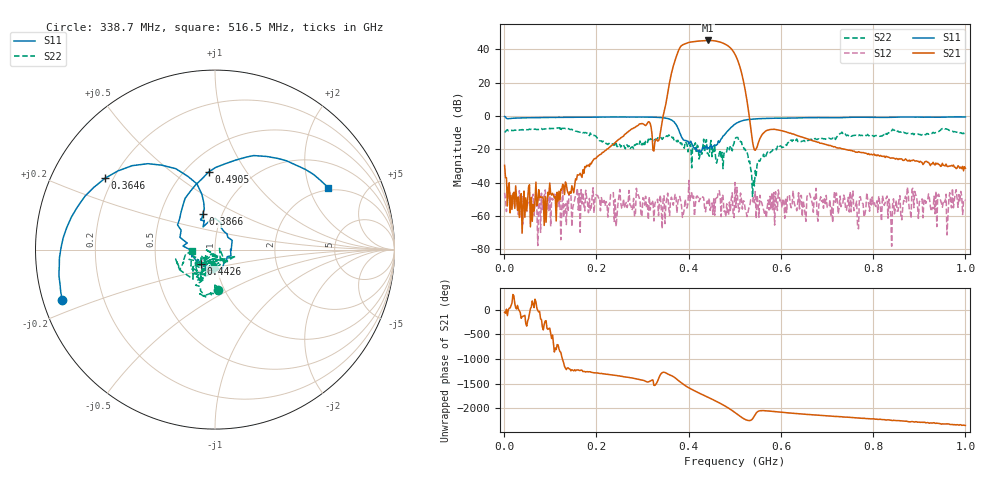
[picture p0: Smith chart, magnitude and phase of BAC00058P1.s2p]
!measured: 2026-10-27T15:10:35
!cal_instance: BBtestOct27
!cal_created: 2026-10-27T14:45
!cal_file: BBtesting.cal
!port1_delay_ps: -58.63
!port2_delay_ps: -59.31
!host: dhcp-10-250-247-203.harvard.edu
! Created with skrf 2.1.0 (http://scikit-rf.org).
# Hz S RI R 50.0
!freq ReS11 ImS11 ReS21 ImS21 ReS12 ImS12 ReS22 ImS22
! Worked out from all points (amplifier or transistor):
!   501 points, 1 MHz to 1 GHz, reference 50 ohm
!   highest |S21| = 45.2 dB at 442.6 MHz (marker M1)
!   |S21| within 3 dB of that: 384.9 MHz to 484.2 MHz (99.31 MHz wide, 22.9 % of centre)
!   unconditionally stable (mu >= 1): start of sweep to 399.8 MHz; 401.7 MHz to 464 MHz; 500.8 MHz to end of sweep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
!   at 166.8 MHz: K = 714.79, MAG = -27.3 dB, |S12| = -44.2 dB
!   at 500.5 MHz: K = 0.73, MSG = 38.4 dB, |S12| = -39.9 dB
!   at 1 GHz: K = 762.79, MAG = -22.2 dB, |S12| = -50.7 dB
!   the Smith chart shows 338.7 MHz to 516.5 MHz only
!   S11 on the Smith chart (normalised r, x): 338.7 MHz: 0.06, -0.16; 364.6 MHz: 0.17, +0.29; 386.6 MHz: 0.81, +0.34; 442.6 MHz: 0.85, -0.14; 490.5 MHz: 0.64, +0.69; 516.5 MHz: 1.90, +2.71
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1000000  -0.3551 0.8983  0.0226 -0.024  -0.00496 -0.000236  0.3162 -0.0676
1.68832e8  0.4861 -0.7737  -0.0124 -0.00735  -0.00176 -0.00144  -0.0191 -0.332
3.34666e8  -0.8277 -0.3597  0.1479 0.1025  -0.000686 0.00077  0.0453 -0.2221
3.38662e8  -0.8507 -0.2809  -0.1507 0.2778  0.000318 0.00427  0.0186 -0.227
3.64636e8  -0.6126 0.3977  -0.9587 24.37  -0.00229 0.00185  -0.0815 -0.2053
3.74626e8  -0.2184 0.4509  61.86 29.3  0.00115 -0.000464  -0.0955 -0.138
3.8062e8  -0.0731 0.3082  101.6 -38.38  0.000261 0.00386  -0.134 -0.0975
3.86614e8  -0.0673 0.199  61.61 -119.1  0.000905 -7.05e-05  -0.1156 -0.0602
3.96604e8  -0.0661 0.1615  -91.4 -123.1  -0.00173 -1.54e-05  -0.1087 -0.087
4.08592e8  0.0344 0.1214  -164.1 24.84  -0.00311 -0.000172  0.000273 -0.1237
4.18582e8  0.09 -0.00489  -95.28 143.7  0.000145 -0.004  0.0386 -0.1267
4.26574e8  0.0634 -0.0641  5.63 177.4  0.000281 0.00326  -0.0173 -0.0839
4.42558e8  -0.0772 -0.0802  174.8 54.06  -0.00137 -0.00167  -0.051 -0.0522
4.52548e8  -0.1051 -0.0613  159 -85.2  -0.00086 0.000698  -0.0148 -0.1159
4.64536e8  -0.1787 0.0201  14.72 -168.7  0.00526 0.00149  -0.0555 0.0027
4.78522e8  -0.1899 0.2056  -130.6 -58.24  0.0013 0.000568  0.0232 -0.0758
4.9051e8  -0.0362 0.432  -76.5 78.63  0.000124 0.00136  -0.034 -0.1232
5.005e8  0.2152 0.5239  25.82 65.17  -0.0101 -0.00106  -0.1225 -0.1647
5.16484e8  0.6316 0.3444  11.75 -10.02  -0.000687 0.00145  -0.1257 -0.00652
6.68332e8  0.0172 -0.8903  0.1665 0.0695  0.00125 -0.00196  0.0276 -0.1848
8.34166e8  -0.6163 -0.6616  0.00658 -0.057  -0.000867 -0.00309  -0.1957 -0.2452
1e9  -0.8965 -0.2529  -0.0261 0.00694  0.0028 0.000857  -0.2461 -0.1688
